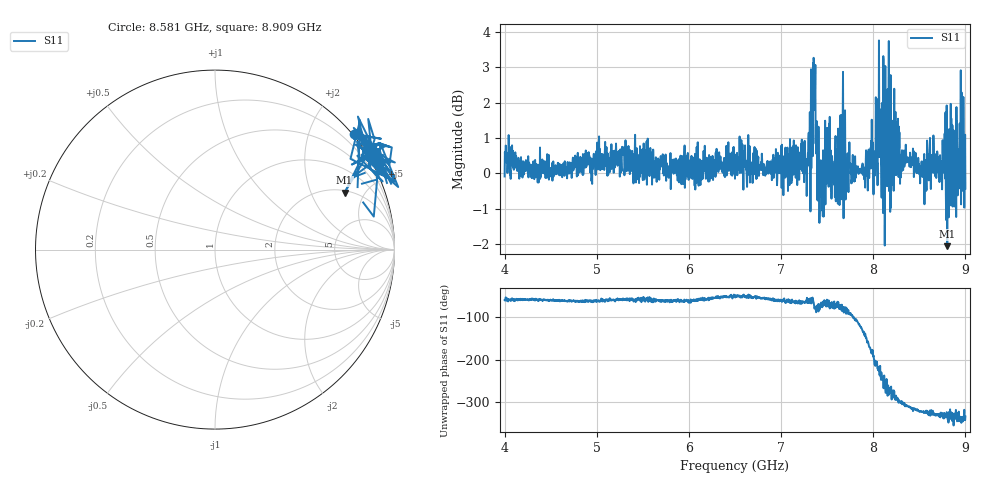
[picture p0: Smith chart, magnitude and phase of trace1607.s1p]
! Created with skrf 1.8.0 (http://scikit-rf.org).
# Hz S RI R 50.0
!freq ReS11 ImS11
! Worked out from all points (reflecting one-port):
!   1601 points, 4 GHz to 9 GHz, reference 50 ohm
!   lowest |S11| = -2.1 dB at 8.803 GHz (marker M1), VSWR 8.47, Z = 106 + j178 ohm
!   phase of S11 starts at -59 deg and turns -275 deg over the sweep
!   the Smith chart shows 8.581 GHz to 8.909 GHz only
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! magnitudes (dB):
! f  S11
! 4 GHz  -0.1
! 4.625 GHz  -0.1
! 5.25 GHz  -0.1
! 5.875 GHz  0.2
! 6.5 GHz  -0.2
! 7.125 GHz  0.5
! 7.294 GHz  0.6
! 7.347 GHz  3.1
! 7.372 GHz  3.1
! 7.4 GHz  -0.3
! 7.428 GHz  0.1
! 7.503 GHz  0.6
! 7.591 GHz  1.1
! 7.669 GHz  1.7
! 7.703 GHz  -0.4
! 7.75 GHz  0.2
! 7.922 GHz  0.6
! 8.088 GHz  0.2
! 8.181 GHz  1.3
! 8.197 GHz  0.5
! 8.375 GHz  0.4
! 8.556 GHz  -0.9
! 8.775 GHz  1.1
! 8.803 GHz  -2.1
! 8.847 GHz  1.6
! 8.9 GHz  -1.2
! 8.956 GHz  0.6
! 9 GHz  -0.4
